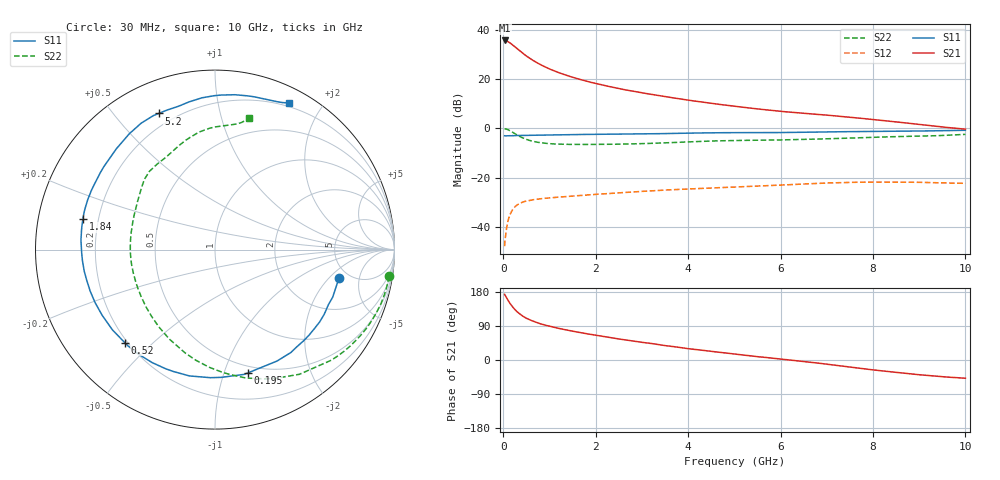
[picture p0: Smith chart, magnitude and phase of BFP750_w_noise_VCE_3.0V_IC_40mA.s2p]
! Infineon Technologies  Discrete & RF Semiconductors
! BFP750
! VCE =  3.0 V,  IC =  40 mA
! Common Emitter S-Parameters:  Jan 2016
# GHz  S  MA  R  50
!  f  S11  S21  S12  S22
! GHz  MAG  ANG  MAG  ANG  MAG  ANG  MAG  ANG
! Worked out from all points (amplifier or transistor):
!   229 points, 30 MHz to 10 GHz, reference 50 ohm
!   highest |S21| = 35.8 dB at 30 MHz (marker M1)
!   |S21| within 3 dB of that: start of sweep to 279.2 MHz
!   unconditionally stable (mu >= 1): 4.228 GHz to end of sweep
!   at 280 MHz: K = 0.15, MSG = 32.2 dB, |S12| = -31.5 dB
!   at 1.78 GHz: K = 0.66, MSG = 23.2 dB, |S12| = -27.2 dB
!   at 10 GHz: K = 1.06, MAG = 9.6 dB, |S12| = -22.4 dB
!   lowest NFmin = 0.94 dB at 450 MHz
!   S11 on the Smith chart (normalised r, x): 30 MHz: 4.11, -2.63; 195 MHz: 0.43, -1.20; 520 MHz: 0.19, -0.41; 1.84 GHz: 0.14, +0.11; 5.2 GHz: 0.14, +0.66; 10 GHz: 0.16, +1.62
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0.03  0.7087 -13.0  61.83 173.2  0.004 83.1  0.9809 -8.7
0.05  0.7073 -22.0  61.66 168.4  0.0065 80.1  0.9769 -14.9
0.08  0.7089 -34.6  60.23 162.5  0.0103 73.8  0.9596 -24.1
0.12  0.7079 -49.9  57.29 154.3  0.0149 67.5  0.9251 -35.5
0.15  0.7106 -60.9  54.98 148.7  0.0178 62.5  0.8941 -43.6
0.195  0.7112 -75.2  50.91 141.2  0.0216 56.4  0.8427 -54.6
0.26  0.7141 -92.1  45.36 132.3  0.0257 49.0  0.7736 -68.6
0.36  0.7185 -112.5  37.75 121.2  0.0298 40.8  0.6846 -86.6
0.45  0.7218 -126.0  32.35 113.6  0.0323 35.6  0.6256 -99.8
0.52  0.722 -134.1  29 109.2  0.0335 32.8  0.5898 -108.2
0.7  0.7275 -149.8  22.54 99.8  0.0359 27.7  0.5322 -126.0
0.9  0.7329 -161.6  17.96 92.2  0.0377 24.8  0.4995 -140.3
1.2  0.741 -174.5  13.67 83.4  0.0399 22.3  0.4789 -155.8
1.7  0.7529 170.4  9.721 71.6  0.0433 20.4  0.4716 -173.3
1.84  0.7554 167.0  8.966 68.6  0.0443 19.9  0.4716 -177.2
2.6  0.7649 150.5  6.205 53.7  0.0494 17.4  0.4801 164.4
3.4  0.7819 136.1  4.601 40.0  0.0548 14.0  0.5036 149.7
5.1  0.8211 113.6  2.76 14.4  0.0647 5.7  0.5695 128.8
5.2  0.8208 112.5  2.691 13.1  0.0653 5.2  0.5705 127.7
6.8  0.8427 96.9  1.929 -8.0  0.0758 -4.8  0.6071 110.5
8.4  0.8759 77.9  1.389 -31.3  0.0809 -19.4  0.677 92.5
10  0.9163 63.1  0.965 -48.1  0.0761 -30.5  0.7573 75.3
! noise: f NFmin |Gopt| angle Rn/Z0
0.45  0.94  0.16  -166  0.41
0.9  0.96  0.2  -161  0.2
1.5  0.98  0.29  -157  0.08
1.9  0.99  0.31  -152  0.07
2.4  1  0.32  -145  0.08
3.5  1.23  0.35  -131  0.09
